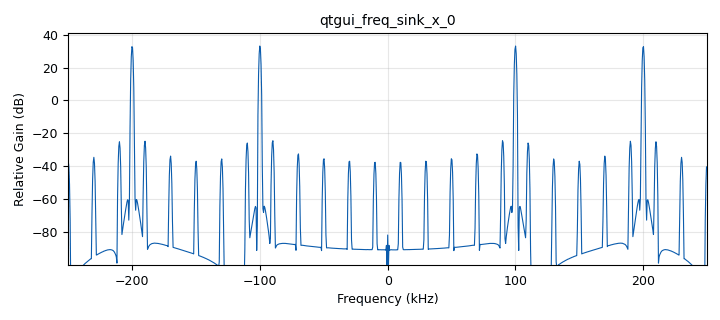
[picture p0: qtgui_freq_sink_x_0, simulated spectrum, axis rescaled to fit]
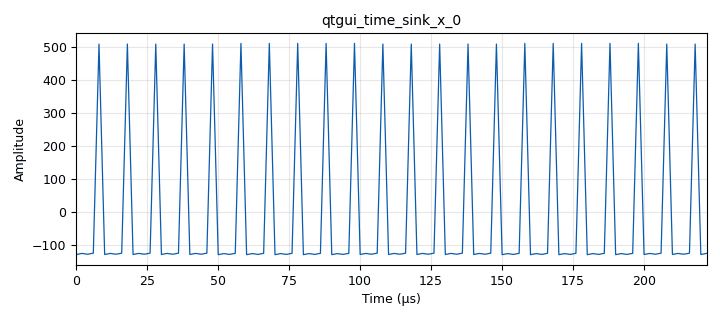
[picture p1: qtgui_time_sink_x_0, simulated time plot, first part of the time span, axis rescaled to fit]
options:
  parameters:
    generate_options: qt_gui
    id: LAB3CD
    output_language: python
    title: Not titled yet
  states: {}

blocks:
- name: samp_rate
  id: variable
  parameters:
    value: '32000'
  states: {}
- name: analog_sig_source_x_0
  id: analog_sig_source_x
  parameters:
    amp: '1'
    freq: '10000'
    offset: '0'
    phase: '0'
    samp_rate: '500000'
    type: byte
    waveform: analog.GR_SQR_WAVE
  states: {}
- name: analog_sig_source_x_1
  id: analog_sig_source_x
  parameters:
    amp: '1'
    freq: '300000'
    offset: '0'
    phase: '0'
    samp_rate: '500000'
    type: float
    waveform: analog.GR_COS_WAVE
  states: {}
- name: analog_sig_source_x_1_0
  id: analog_sig_source_x
  parameters:
    amp: '1'
    freq: '100000'
    offset: '0'
    phase: '0'
    samp_rate: '500000'
    type: float
    waveform: analog.GR_COS_WAVE
  states: {}
- name: blocks_add_xx_0
  id: blocks_add_xx
  parameters:
    type: float
  states: {}
- name: blocks_multiply_xx_0_0
  id: blocks_multiply_xx
  parameters:
    type: float
  states: {}
- name: blocks_multiply_xx_0_0_0
  id: blocks_multiply_xx
  parameters:
    type: float
  states: {}
- name: blocks_not_xx_0
  id: blocks_not_xx
  parameters:
    type: byte
  states: {}
- name: blocks_uchar_to_float_1
  id: blocks_uchar_to_float
  parameters: {}
  states: {}
- name: qtgui_freq_sink_x_0
  id: qtgui_freq_sink_x
  parameters:
    bw: '500000'
    fc: '0'
    fftsize: '1024'
    type: float
  states: {}
- name: qtgui_time_sink_x_0
  id: qtgui_time_sink_x
  parameters:
    size: '1024'
    srate: '500000'
    type: float
  states: {}

connections:
- [analog_sig_source_x_0, '0', blocks_not_xx_0, '0']
- [analog_sig_source_x_1, '0', blocks_multiply_xx_0_0, '1']
- [analog_sig_source_x_1_0, '0', blocks_multiply_xx_0_0_0, '1']
- [blocks_add_xx_0, '0', qtgui_freq_sink_x_0, '0']
- [blocks_add_xx_0, '0', qtgui_time_sink_x_0, '0']
- [blocks_multiply_xx_0_0, '0', blocks_add_xx_0, '0']
- [blocks_multiply_xx_0_0_0, '0', blocks_add_xx_0, '1']
- [blocks_not_xx_0, '0', blocks_uchar_to_float_1, '0']
- [blocks_uchar_to_float_1, '0', blocks_multiply_xx_0_0, '0']
- [blocks_uchar_to_float_1, '0', blocks_multiply_xx_0_0_0, '0']

metadata:
  file_format: 1
  grc_version: 3.10.9.2
